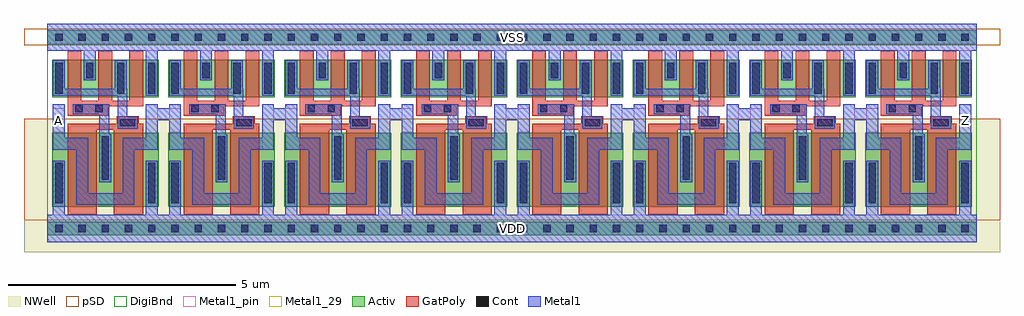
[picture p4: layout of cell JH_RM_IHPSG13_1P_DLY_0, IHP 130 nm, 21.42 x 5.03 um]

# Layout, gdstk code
from math import pi, radians
import gdstk
lib = gdstk.Library(unit=1e-6, precision=1e-09)
def R(c, l, rs):  # rectangles x0, y0, x1, y1
    for r in rs: c.add(gdstk.rectangle(r[:2], r[2:], *l))
def A(c, l, x, y, w, h, nx, ny, dx, dy):  # array of equal rectangles
    R(c, l, [(x+i*dx, y+j*dy, x+i*dx+w, y+j*dy+h) for i in range(nx) for j in range(ny)])
def P(c, l, *ps):  # polygons
    for p in ps: c.add(gdstk.Polygon(p, *l))
Activ = (1, 0)
GatPoly = (5, 0)
Cont = (6, 0)
Metal1 = (8, 0)
Metal1_pin = (8, 2)
Metal1_29 = (8, 29)
pSD = (14, 0)
DigiBnd = (16, 0)
NWell = (31, 0)

jh_lvsres_db_0x04007e9a = lib.new_cell('JH_lvsres_db_0x04007e9a')
R(jh_lvsres_db_0x04007e9a, Metal1, [(-0.5,0,0.5,0.26)])
R(jh_lvsres_db_0x04007e9a, Metal1_pin, [(-0.5,0,-0.3,0.26), (0.3,0,0.5,0.26)])
R(jh_lvsres_db_0x04007e9a, Metal1_29, [(-0.3,0,0.3,0.26)])
jh_lvsres_db_0x04007e9a.add(gdstk.Label('MINUS', (0.4,0.13), layer=63, texttype=0))
jh_lvsres_db_0x04007e9a.add(gdstk.Label('PLUS', (-0.4,0.13), layer=63, texttype=0))

jh_rsc_ihpsg13_cdlyx1_du = lib.new_cell('JH_RSC_IHPSG13_CDLYX1_DUMMY')
R(jh_rsc_ihpsg13_cdlyx1_du, Activ, [(0,-0.15,2.55,0.15), (0.105,0.49,2.445,1.32), (0.105,2.1,2.445,3.72), (0,4.05,2.55,4.35)])
P(jh_rsc_ihpsg13_cdlyx1_du, GatPoly, [(0.445,0.3),(0.445,1.72),(1.34,1.72),(1.34,1.52),(2.105,1.52),(2.105,0.3),(1.805,0.3),(1.805,1.39),(1.425,1.39),(1.425,0.3),(1.125,0.3),(1.125,1.39),(0.745,1.39),(0.745,0.3)],
  [(1.525,1.73),(1.525,1.9),(0.445,1.9),(0.445,3.9),(1.085,3.9),(1.085,2.03),(1.465,2.03),(1.465,3.9),(2.105,3.9),(2.105,1.9),(2.005,1.9),(2.005,1.73)])
A(jh_rsc_ihpsg13_cdlyx1_du, Cont, 0.175, -0.08, 0.16, 0.16, 5, 2, 0.51, 4.2)
R(jh_rsc_ihpsg13_cdlyx1_du, Cont, [(0.175,0.56,0.335,1.24), (0.855,0.56,1.015,0.9), (1.535,0.56,1.695,1.24), (2.215,0.56,2.375,1.24), (0.615,1.49,0.775,1.65), (1.055,1.49,1.215,1.65), (1.595,1.8,1.935,1.96), (1.195,2.175,1.355,3.13), (0.175,2.76,0.335,3.65), (2.215,2.76,2.375,3.65)])
R(jh_rsc_ihpsg13_cdlyx1_du, Metal1, [(0.125,1.47,0.385,2.465), (2.165,1.47,2.425,2.465), (0.125,2.205,0.895,2.465), (0.635,2.205,0.895,3.68), (1.655,2.205,1.915,3.68), (1.655,2.205,2.425,2.465), (0.635,3.42,1.915,3.68)])
P(jh_rsc_ihpsg13_cdlyx1_du, Metal1, [(0.125,0.51),(0.125,1.29),(1.545,1.29),(1.545,2.01),(1.985,2.01),(1.985,1.75),(1.755,1.75),(1.755,1.13),(1.745,1.13),(1.745,0.51),(1.485,0.51),(1.485,1.13),(0.385,1.13),(0.385,0.51)],
  [(0.565,1.47),(0.565,1.69),(1.145,1.69),(1.145,3.18),(1.405,3.18),(1.405,2.125),(1.365,2.125),(1.365,1.47)],
  [(0.125,2.71),(0.125,3.9),(0,3.9),(0,4.5),(2.55,4.5),(2.55,3.9),(2.425,3.9),(2.425,2.71),(2.165,2.71),(2.165,3.9),(0.385,3.9),(0.385,2.71)],
  [(0,-0.3),(0,0.3),(0.805,0.3),(0.805,0.95),(1.065,0.95),(1.065,0.3),(2.165,0.3),(2.165,1.29),(2.425,1.29),(2.425,0.3),(2.55,0.3),(2.55,-0.3)])
R(jh_rsc_ihpsg13_cdlyx1_du, Metal1_pin, [(0,-0.3,2.55,0.3), (2.165,1.47,2.425,2.465), (0.125,1.56,0.385,2.09), (0,3.9,2.55,4.5)])
R(jh_rsc_ihpsg13_cdlyx1_du, pSD, [(-0.51,-0.18,3.06,0.18), (-0.51,1.785,3.06,4.02)])
R(jh_rsc_ihpsg13_cdlyx1_du, DigiBnd, [(0,-0.3,2.55,4.5)])
R(jh_rsc_ihpsg13_cdlyx1_du, NWell, [(-0.51,1.785,3.06,4.725)])
jh_rsc_ihpsg13_cdlyx1_du.add(gdstk.Reference(jh_lvsres_db_0x04007e9a, (1.305,3.68), rotation=pi))
jh_rsc_ihpsg13_cdlyx1_du.add(gdstk.Label('VDD!', (0.84,4.2), layer=8, texttype=2))
jh_rsc_ihpsg13_cdlyx1_du.add(gdstk.Label('VSS!', (1.155,0.005), layer=8, texttype=2))
jh_rsc_ihpsg13_cdlyx1_du.add(gdstk.Label('A', (0.265,1.785), layer=8, texttype=25))
jh_rsc_ihpsg13_cdlyx1_du.add(gdstk.Label('Z', (2.3,1.755), layer=8, texttype=25))

jh_rm_ihpsg13_1p_dly_0 = lib.new_cell('JH_RM_IHPSG13_1P_DLY_0')
A(jh_rm_ihpsg13_1p_dly_0, Metal1, 2.425, 2.38, 0.25, 0.26, 7, 1, 2.55, 0)
R(jh_rm_ihpsg13_1p_dly_0, Metal1_pin, [(0,-0.3,20.4,0.3), (0.125,2.11,0.385,2.64), (20.015,2.11,20.275,2.64), (0,3.9,20.4,4.5)])
jh_rm_ihpsg13_1p_dly_0.add(gdstk.Reference(jh_rsc_ihpsg13_cdlyx1_du, (0,4.2), x_reflection=True))
jh_rm_ihpsg13_1p_dly_0.add(gdstk.Reference(jh_rsc_ihpsg13_cdlyx1_du, (2.55,4.2), x_reflection=True))
jh_rm_ihpsg13_1p_dly_0.add(gdstk.Reference(jh_rsc_ihpsg13_cdlyx1_du, (5.1,4.2), x_reflection=True))
jh_rm_ihpsg13_1p_dly_0.add(gdstk.Reference(jh_rsc_ihpsg13_cdlyx1_du, (7.65,4.2), x_reflection=True))
jh_rm_ihpsg13_1p_dly_0.add(gdstk.Reference(jh_rsc_ihpsg13_cdlyx1_du, (10.2,4.2), x_reflection=True))
jh_rm_ihpsg13_1p_dly_0.add(gdstk.Reference(jh_rsc_ihpsg13_cdlyx1_du, (12.75,4.2), x_reflection=True))
jh_rm_ihpsg13_1p_dly_0.add(gdstk.Reference(jh_rsc_ihpsg13_cdlyx1_du, (15.3,4.2), x_reflection=True))
jh_rm_ihpsg13_1p_dly_0.add(gdstk.Reference(jh_rsc_ihpsg13_cdlyx1_du, (17.85,4.2), x_reflection=True))
jh_rm_ihpsg13_1p_dly_0.add(gdstk.Label('VDD', (10.2,0), layer=8, texttype=25))
jh_rm_ihpsg13_1p_dly_0.add(gdstk.Label('VSS', (10.2,4.2), layer=8, texttype=25))
jh_rm_ihpsg13_1p_dly_0.add(gdstk.Label('A', (0.255,2.375), layer=8, texttype=25))
jh_rm_ihpsg13_1p_dly_0.add(gdstk.Label('Z', (20.145,2.375), layer=8, texttype=25))

lib.write_gds('JH_RM_IHPSG13_1P_DLY_0.gds')
